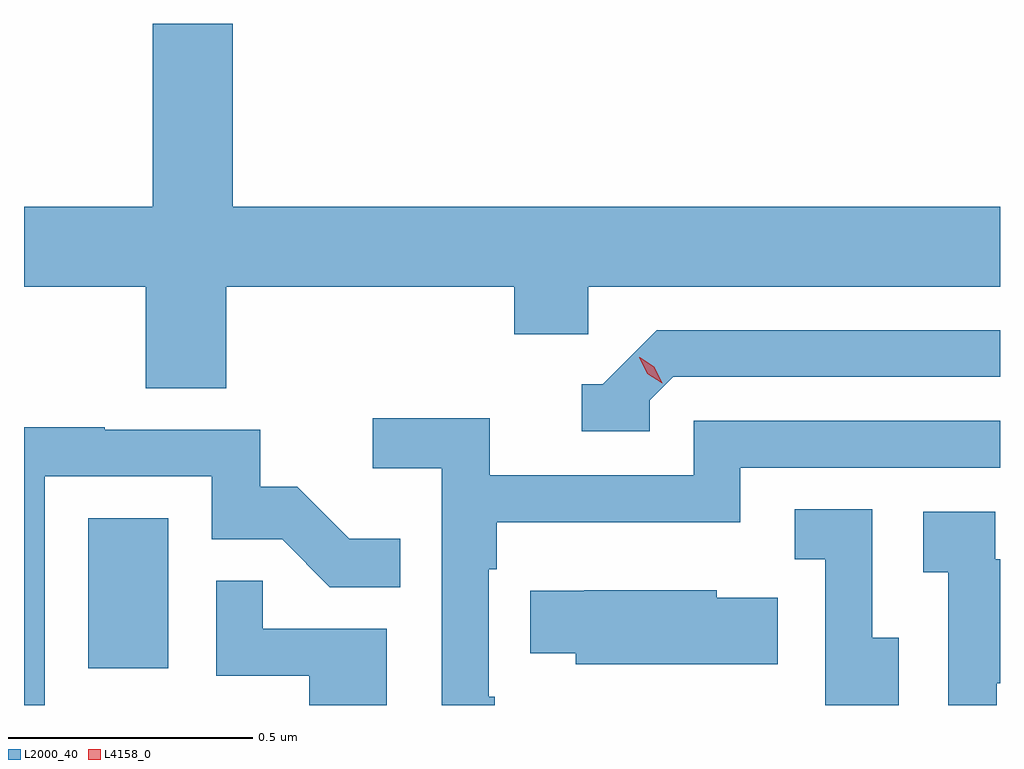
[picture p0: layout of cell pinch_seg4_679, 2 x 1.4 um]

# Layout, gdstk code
import gdstk
lib = gdstk.Library(unit=1e-6, precision=1e-09)
def R(c, l, rs):  # rectangles x0, y0, x1, y1
    for r in rs: c.add(gdstk.rectangle(r[:2], r[2:], *l))
def P(c, l, *ps):  # polygons
    for p in ps: c.add(gdstk.Polygon(p, *l))
L2000_40 = (2000, 40)
L4158_0 = (4158, 0)

pinch_seg4_679 = lib.new_cell('pinch_seg4_679')
R(pinch_seg4_679, L2000_40, [(1141.898,753.414,1142.062,753.721)])
P(pinch_seg4_679, L2000_40, [(1142.18,754.196),(1142.771,754.196),(1142.771,754.098),(1142.922,754.098),(1142.922,754.196),(1143.766,754.196),(1143.766,754.36),(1142.194,754.36),(1142.194,754.735),(1142.03,754.735),(1142.03,754.36),(1141.766,754.36),(1141.766,754.196),(1142.015,754.196),(1142.015,753.988),(1142.18,753.988)],
  [(1143.048,753.963),(1143.096,754.011),(1143.766,754.011),(1143.766,754.107),(1143.063,754.107),(1142.952,753.996),(1142.909,753.996),(1142.909,753.9),(1143.048,753.9)],
  [(1142.731,753.356),(1142.718,753.356),(1142.718,753.617),(1142.735,753.617),(1142.735,753.713),(1143.234,753.713),(1143.234,753.825),(1143.766,753.825),(1143.766,753.921),(1143.138,753.921),(1143.138,753.81),(1142.72,753.81),(1142.72,753.926),(1142.481,753.926),(1142.481,753.824),(1142.622,753.824),(1142.622,753.338),(1142.731,753.338)],
  [(1141.809,753.807),(1142.151,753.807),(1142.151,753.678),(1142.295,753.678),(1142.393,753.58),(1142.537,753.58),(1142.537,753.679),(1142.433,753.679),(1142.326,753.786),(1142.25,753.786),(1142.25,753.903),(1141.931,753.903),(1141.931,753.908),(1141.766,753.908),(1141.766,753.338),(1141.809,753.338)],
  [(1143.559,753.477),(1143.504,753.477),(1143.504,753.74),(1143.345,753.74),(1143.345,753.637),(1143.408,753.637),(1143.408,753.338),(1143.559,753.338)],
  [(1143.759,753.383),(1143.766,753.383),(1143.766,753.637),(1143.756,753.637),(1143.756,753.735),(1143.609,753.735),(1143.609,753.611),(1143.66,753.611),(1143.66,753.338),(1143.759,753.338)],
  [(1142.509,753.495),(1142.255,753.495),(1142.255,753.593),(1142.16,753.593),(1142.16,753.399),(1142.351,753.399),(1142.351,753.338),(1142.509,753.338)],
  [(1143.311,753.559),(1143.186,753.559),(1143.186,753.574),(1142.914,753.574),(1142.914,753.573),(1142.803,753.573),(1142.803,753.445),(1142.897,753.445),(1142.897,753.422),(1143.311,753.422)])
P(pinch_seg4_679, L4158_0, [(1143.074,753.998),(1143.043,754.018),(1143.027,754.051),(1143.027,754.051),(1143.028,754.051),(1143.058,754.032),(1143.074,753.999),(1143.074,753.998)])

lib.write_gds('pinch_seg4_679.gds')
